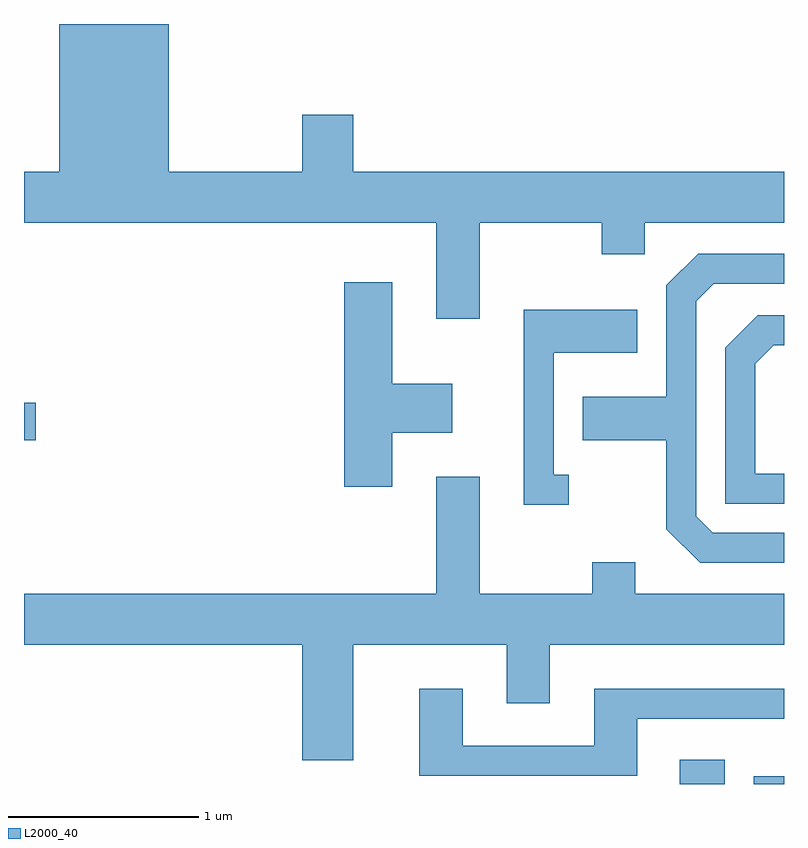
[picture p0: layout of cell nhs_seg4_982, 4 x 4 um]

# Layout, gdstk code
import gdstk
lib = gdstk.Library(unit=1e-6, precision=1e-09)
def R(c, l, rs):  # rectangles x0, y0, x1, y1
    for r in rs: c.add(gdstk.rectangle(r[:2], r[2:], *l))
def P(c, l, *ps):  # polygons
    for p in ps: c.add(gdstk.Polygon(p, *l))
L2000_40 = (2000, 40)

nhs_seg4_982 = lib.new_cell('nhs_seg4_982')
R(nhs_seg4_982, L2000_40, [(217.063,1313.982,217.299,1314.109), (217.451,1313.982,217.611,1314.024), (213.611,1315.791,213.674,1315.989)])
P(nhs_seg4_982, L2000_40, [(216.009,1316.936),(216.651,1316.936),(216.651,1316.771),(216.879,1316.771),(216.879,1316.936),(217.611,1316.936),(217.611,1317.204),(215.344,1317.204),(215.344,1317.504),(215.076,1317.504),(215.076,1317.204),(214.374,1317.204),(214.374,1317.982),(213.796,1317.982),(213.796,1317.204),(213.611,1317.204),(213.611,1316.936),(215.781,1316.936),(215.781,1316.431),(216.009,1316.431)],
  [(217.611,1315.304),(217.237,1315.304),(217.149,1315.392),(217.149,1316.524),(217.242,1316.616),(217.611,1316.616),(217.611,1316.774),(217.159,1316.774),(216.991,1316.607),(216.991,1316.019),(216.551,1316.019),(216.551,1315.791),(216.991,1315.791),(216.991,1315.324),(217.169,1315.146),(217.611,1315.146)],
  [(215.549,1315.831),(215.864,1315.831),(215.864,1316.089),(215.549,1316.089),(215.549,1316.624),(215.296,1316.624),(215.296,1315.546),(215.549,1315.546)],
  [(216.478,1315.609),(216.399,1315.609),(216.399,1316.251),(216.839,1316.251),(216.839,1316.479),(216.241,1316.479),(216.241,1315.451),(216.478,1315.451)],
  [(217.611,1315.614),(217.459,1315.614),(217.459,1316.194),(217.557,1316.291),(217.611,1316.291),(217.611,1316.449),(217.474,1316.449),(217.301,1316.277),(217.301,1315.456),(217.611,1315.456)],
  [(215.344,1314.716),(216.151,1314.716),(216.151,1314.406),(216.379,1314.406),(216.379,1314.716),(217.611,1314.716),(217.611,1314.984),(216.829,1314.984),(216.829,1315.149),(216.601,1315.149),(216.601,1314.984),(216.009,1314.984),(216.009,1315.599),(215.781,1315.599),(215.781,1314.984),(213.611,1314.984),(213.611,1314.716),(215.076,1314.716),(215.076,1314.106),(215.344,1314.106)],
  [(216.839,1314.326),(217.611,1314.326),(217.611,1314.484),(216.611,1314.484),(216.611,1314.184),(215.919,1314.184),(215.919,1314.484),(215.691,1314.484),(215.691,1314.026),(216.839,1314.026)])

lib.write_gds('nhs_seg4_982.gds')
